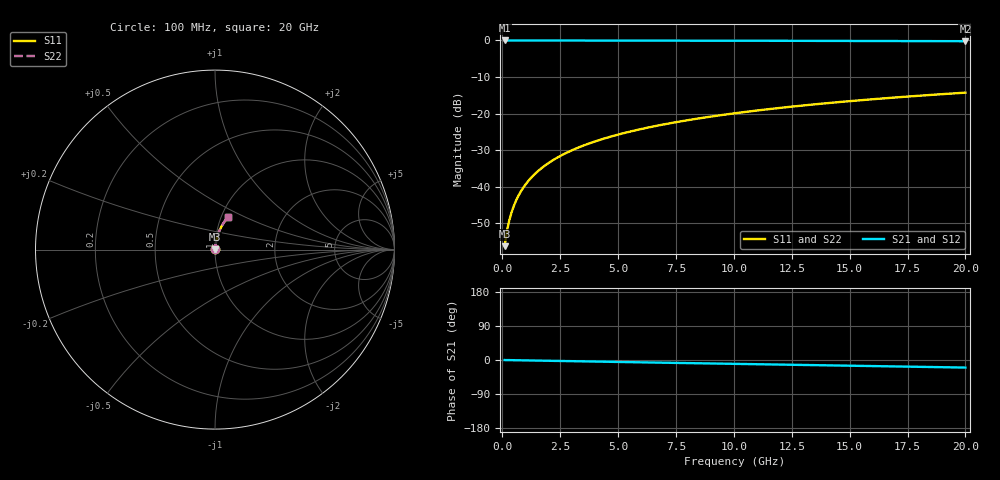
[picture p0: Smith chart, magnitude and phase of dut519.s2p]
! Touchstone file exported from HFSS 2026.1.0
!  File:  C:/ffzhzh/LocalFiles/Ansys_Project_Files/temp_train_TMRDL_519_1783007078_4048.aedt
!  Generated:  11:45:54 PM Jul  2, 2026
!  Design:  TMRDL
!  Project:  temp_train_TMRDL_519_1783007078_4048
! Variables:
!  h_bsmrdl = 2um
!  h_ox = 20um
!  h_rdl = 5um
!  h_sub = 80um
!  h_tmrdl = 5.36um
!  h_tsv = 80um
!  h_via = 3um
!  l_bsmrdl = 300um
!  l_sub = 667.71um
!  l_tmrdl = 267.71um
!  m_sub = 200um
!  pitch = 44.87um
!  r_tsv = 6um
!  s_tmrdl = 10um
!  w_bsmrdl = 18um
!  w_sub = 500um
!  w_tmrdl = 19.46um
!  x_tsv_center1 = 277.44um
!  x_tsv_center2 = 595.44um
!  x_tsv_center3 = 882.61um
!  x_tsv_center4 = 1200.61um
!  x_tsv_center5 = 1487.78um
!  x_tsv_center6 = 1805.78um
# GHz S MA R 50.000000
! Terminal data exported
! Port[1] = TM_RDL1_1_T1
! Port[2] = TM_RDL1_1_T2
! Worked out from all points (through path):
!   200 points, 100 MHz to 20 GHz, reference 50 ohm
!   highest |S21| = -0.01 dB at 100 MHz (marker M1); lowest = -0.2 dB at 20 GHz (marker M2)
!   group delay of S21, straight-line fit = 2.77 ps
!   lowest |S11| = -56.2 dB at 100 MHz (marker M3), VSWR 1.00, Z = 50.1 + j0.114 ohm
!   |S11| at or under -10 dB: start of sweep to end of sweep
!   |S22| runs from -56.2 to -14.3 dB; largest |S21 - S12| = 2.7e-15
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0.1  0.001547 47.3  0.999 -0.1  0.999 -0.1  0.001547 47.3
! Gamma 0 0 0 0
! Port Impedance 50 0 50 0
0.2  0.002481 63.3  0.9989 -0.2  0.9989 -0.2  0.002481 63.3
0.3  0.003471 70.4  0.9988 -0.3  0.9988 -0.3  0.003471 70.4
0.4  0.004484 74.4  0.9988 -0.4  0.9988 -0.4  0.004484 74.4
0.5  0.005511 76.9  0.9988 -0.5  0.9988 -0.5  0.005511 76.9
0.6  0.006547 78.7  0.9987 -0.6  0.9987 -0.6  0.006547 78.7
0.8  0.008633 80.8  0.9987 -0.8  0.9987 -0.8  0.008634 80.8
1.1  0.01178 82.4  0.9986 -1.2  0.9986 -1.2  0.01178 82.4
1.3  0.01388 83.0  0.9985 -1.4  0.9985 -1.4  0.01388 83.0
1.5  0.01597 83.3  0.9984 -1.6  0.9984 -1.6  0.01597 83.3
1.8  0.0191 83.5  0.9983 -1.9  0.9983 -1.9  0.0191 83.5
2.1  0.02223 83.6  0.9981 -2.2  0.9981 -2.2  0.02222 83.6
2.7  0.02842 83.4  0.9977 -2.8  0.9977 -2.8  0.02842 83.4
3.5  0.0366 83.0  0.9972 -3.6  0.9972 -3.6  0.0366 83.0
4.2  0.04368 82.5  0.9966 -4.3  0.9966 -4.3  0.04368 82.5
5  0.0517 81.8  0.9959 -5.2  0.9959 -5.2  0.0517 81.8
6.8  0.06954 80.3  0.9943 -7.0  0.9943 -7.0  0.06954 80.3
8.3  0.08423 79.0  0.9928 -8.5  0.9928 -8.5  0.08423 79.0
10.1  0.1017 77.4  0.9908 -10.3  0.9908 -10.3  0.1017 77.4
13.4  0.1331 74.4  0.9864 -13.5  0.9864 -13.5  0.1331 74.4
16.7  0.1638 71.4  0.9813 -16.8  0.9813 -16.8  0.1638 71.4
20  0.1935 68.4  0.9755 -20.0  0.9755 -20.0  0.1935 68.3
